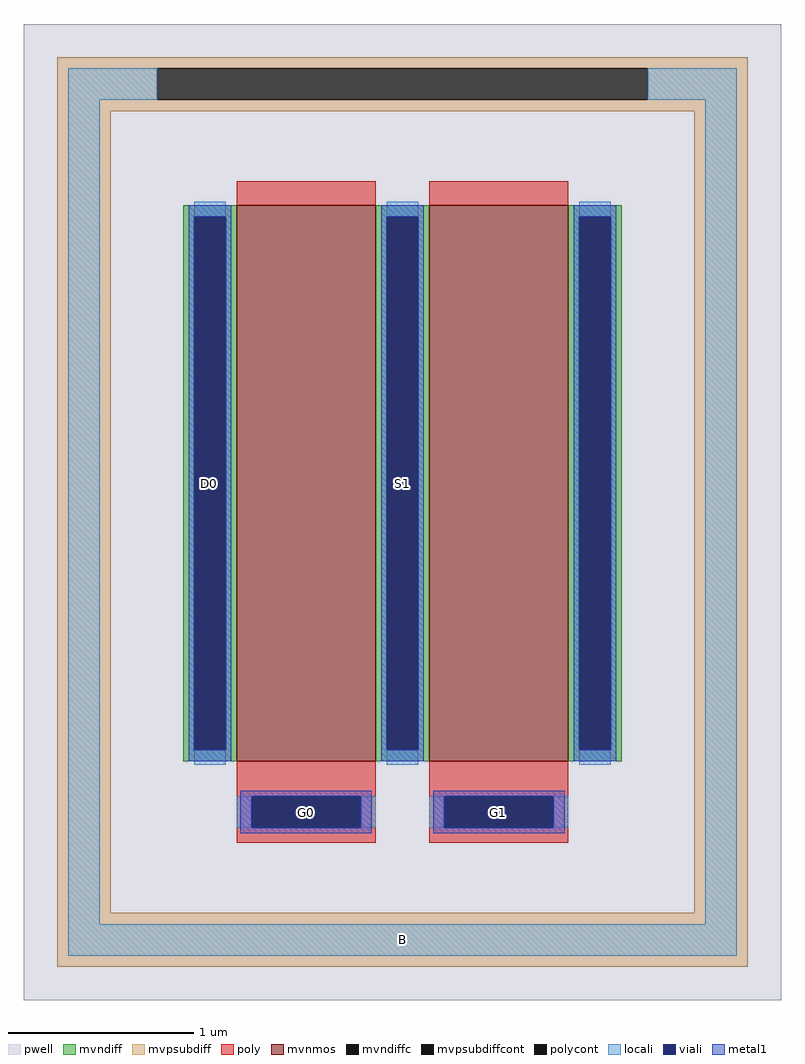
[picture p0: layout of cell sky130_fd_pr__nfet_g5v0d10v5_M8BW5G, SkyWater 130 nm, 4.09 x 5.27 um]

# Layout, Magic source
magic
tech sky130A
magscale 1 2
<< pwell >>
rect -409 -527 409 527
<< mvnmos >>
rect -179 -269 -29 331
rect 29 -269 179 331
<< mvndiff >>
rect -237 319 -179 331
rect -237 -257 -225 319
rect -191 -257 -179 319
rect -237 -269 -179 -257
rect -29 319 29 331
rect -29 -257 -17 319
rect 17 -257 29 319
rect -29 -269 29 -257
rect 179 319 237 331
rect 179 -257 191 319
rect 225 -257 237 319
rect 179 -269 237 -257
<< mvndiffc >>
rect -225 -257 -191 319
rect -17 -257 17 319
rect 191 -257 225 319
<< mvpsubdiff >>
rect -373 479 373 491
rect -373 445 -265 479
rect 265 445 373 479
rect -373 433 373 445
rect -373 -433 -315 433
rect 315 -433 373 433
rect -373 -491 373 -433
<< mvpsubdiffcont >>
rect -265 445 265 479
<< poly >>
rect -179 331 -29 357
rect 29 331 179 357
rect -179 -307 -29 -269
rect -179 -341 -163 -307
rect -45 -341 -29 -307
rect -179 -357 -29 -341
rect 29 -307 179 -269
rect 29 -341 45 -307
rect 163 -341 179 -307
rect 29 -357 179 -341
<< polycont >>
rect -163 -341 -45 -307
rect 45 -341 163 -307
<< locali >>
rect -361 445 -265 479
rect 265 445 361 479
rect -361 -445 -327 445
rect -225 319 -191 335
rect -225 -273 -191 -257
rect -17 319 17 335
rect -17 -273 17 -257
rect 191 319 225 335
rect 191 -273 225 -257
rect -179 -341 -163 -307
rect -45 -341 -29 -307
rect 29 -341 45 -307
rect 163 -341 179 -307
rect 327 -445 361 445
rect -361 -479 361 -445
<< viali >>
rect -225 -257 -191 319
rect -17 -257 17 319
rect 191 -257 225 319
rect -163 -341 -45 -307
rect 45 -341 163 -307
<< metal1 >>
rect -231 319 -185 331
rect -231 -257 -225 319
rect -191 -257 -185 319
rect -231 -269 -185 -257
rect -23 319 23 331
rect -23 -257 -17 319
rect 17 -257 23 319
rect -23 -269 23 -257
rect 185 319 231 331
rect 185 -257 191 319
rect 225 -257 231 319
rect 185 -269 231 -257
rect -175 -307 -33 -301
rect -175 -341 -163 -307
rect -45 -341 -33 -307
rect -175 -347 -33 -341
rect 33 -307 175 -301
rect 33 -341 45 -307
rect 163 -341 175 -307
rect 33 -347 175 -341
<< labels >>
rlabel mvpsubdiff 0 -462 0 -462 0 B
port 1 nsew
rlabel mvndiffc -208 31 -208 31 0 D0
port 2 nsew
rlabel polycont -104 -324 -104 -324 0 G0
port 3 nsew
rlabel mvndiffc 0 31 0 31 0 S1
port 4 nsew
rlabel polycont 104 -324 104 -324 0 G1
port 5 nsew
<< properties >>
string FIXED_BBOX -344 -462 344 462
string gencell sky130_fd_pr__nfet_g5v0d10v5
string library sky130
string parameters w 3.0 l 0.75 m 1 nf 2 diffcov 100 polycov 100 guard 1 glc 0 grc 0 gtc 1 gbc 0 tbcov 100 rlcov 100 topc 0 botc 1 poverlap 0 doverlap 1 lmin 0.50 wmin 0.42 class mosfet compatible {sky130_fd_pr__nfet_01v8 sky130_fd_pr__nfet_01v8_lvt  sky130_fd_bs_flash__special_sonosfet_star  sky130_fd_pr__nfet_g5v0d10v5 sky130_fd_pr__nfet_05v0_nvt  sky130_fd_pr__nfet_03v3_nvt} full_metal 1 conn_gates 0 viasrc 100 viadrn 100 viagate 100 viagb 0 viagr 0 viagl 0 viagt 0 doports 1
<< end >>
